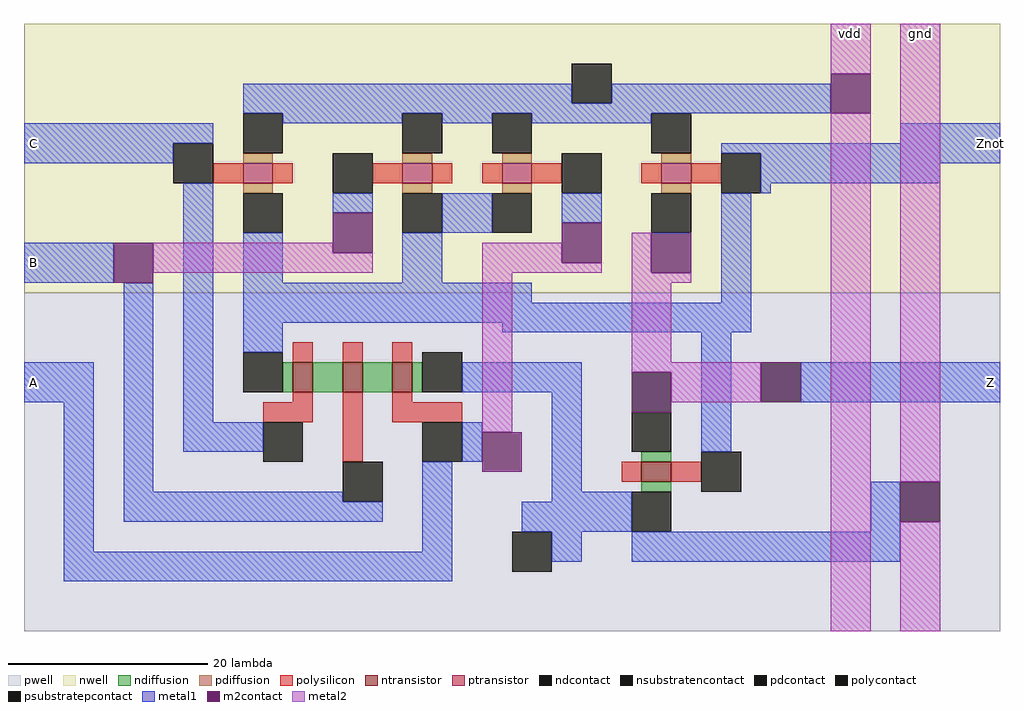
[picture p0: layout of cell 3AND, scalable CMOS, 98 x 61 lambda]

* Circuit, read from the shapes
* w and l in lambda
.subckt 3AND A B C Z Znot gnd vdd
M1 n1 C Znot gnd nfet w=3 l=2
M2 n2 B n1 gnd nfet w=3 l=2
M3 gnd A n2 gnd nfet w=3 l=2
M4 Z Znot gnd gnd nfet w=3 l=2
M5 vdd C Znot vdd pfet w=3 l=2
M6 vdd B Znot vdd pfet w=3 l=2
M7 vdd A Znot vdd pfet w=3 l=2
M8 vdd Znot Z vdd pfet w=3 l=2
.ends

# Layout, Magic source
magic
tech scmos
<< nwell >>
rect -65 7 33 34
<< pwell >>
rect -65 -27 33 7
<< ntransistor >>
rect -38 -3 -36 0
rect -33 -3 -31 0
rect -28 -3 -26 0
rect -3 -12 0 -10
<< ptransistor >>
rect -43 18 -40 20
rect -27 18 -24 20
rect -17 18 -14 20
rect -1 18 2 20
<< ndiffusion >>
rect -39 -3 -38 0
rect -36 -3 -33 0
rect -31 -3 -28 0
rect -26 -3 -25 0
rect -4 -5 0 -1
rect 9 -4 13 0
rect -3 -10 0 -9
rect -3 -13 0 -12
rect 23 -16 27 -12
<< pdiffusion >>
rect -43 20 -40 21
rect -43 17 -40 18
rect -27 20 -24 21
rect -17 20 -14 21
rect -27 17 -24 18
rect -17 17 -14 18
rect -1 20 2 21
rect -1 17 2 18
<< ndcontact >>
rect -43 -3 -39 1
rect -25 -3 -21 1
rect -4 -9 0 -5
rect -4 -17 0 -13
<< pdcontact >>
rect -43 21 -39 25
rect -27 21 -23 25
rect -18 21 -14 25
rect -2 21 2 25
rect -43 13 -39 17
rect -27 13 -23 17
rect -18 13 -14 17
rect -2 13 2 17
<< psubstratepcontact >>
rect -16 -21 -12 -17
<< nsubstratencontact >>
rect -10 26 -6 30
<< polysilicon >>
rect -46 18 -43 20
rect -40 18 -38 20
rect -30 18 -27 20
rect -24 18 -22 20
rect -19 18 -17 20
rect -14 18 -11 20
rect -3 18 -1 20
rect 2 18 5 20
rect -38 0 -36 2
rect -33 0 -31 2
rect -28 0 -26 2
rect -38 -4 -36 -3
rect -41 -6 -36 -4
rect -33 -10 -31 -3
rect -28 -4 -26 -3
rect -28 -6 -21 -4
rect -5 -12 -3 -10
rect 0 -12 3 -10
<< polycontact >>
rect -50 18 -46 22
rect -34 17 -30 21
rect -11 17 -7 21
rect 5 17 9 21
rect -41 -10 -37 -6
rect -25 -10 -21 -6
rect -33 -14 -29 -10
rect 3 -13 7 -9
<< metal1 >>
rect -43 26 -10 28
rect -6 26 16 28
rect -43 25 16 26
rect -65 22 -46 24
rect -65 20 -50 22
rect -39 24 -27 25
rect -23 24 -18 25
rect -14 24 -2 25
rect 23 22 33 24
rect 5 21 33 22
rect -65 8 -56 12
rect -65 -4 -58 0
rect -61 -19 -58 -4
rect -55 -13 -52 8
rect -49 -6 -46 18
rect 9 20 33 21
rect 9 18 27 20
rect 9 17 10 18
rect -43 8 -39 13
rect -34 15 -30 17
rect -23 13 -18 17
rect -11 14 -7 17
rect -27 8 -23 13
rect -43 6 -14 8
rect 5 6 8 17
rect -43 4 8 6
rect -43 1 -39 4
rect -17 3 8 4
rect -21 -3 -9 0
rect -49 -9 -41 -6
rect -21 -10 -19 -6
rect -55 -14 -33 -13
rect -55 -16 -29 -14
rect -25 -19 -22 -10
rect -12 -13 -9 -3
rect 3 -9 6 3
rect 13 -4 33 0
rect -12 -14 -4 -13
rect -15 -17 -4 -14
rect 20 -17 23 -12
rect -61 -22 -22 -19
rect -12 -20 -9 -17
rect -4 -20 23 -17
<< m2contact >>
rect 16 25 20 29
rect -56 8 -52 12
rect -34 11 -30 15
rect -11 10 -7 14
rect -2 9 2 13
rect -19 -11 -15 -7
rect -4 -5 0 -1
rect 9 -4 13 0
rect 23 -16 27 -12
<< metal2 >>
rect 16 29 20 34
rect -52 11 -34 12
rect -52 9 -30 11
rect -19 10 -11 12
rect -19 9 -7 10
rect -4 9 -2 13
rect -19 -7 -16 9
rect -4 8 2 9
rect -4 0 0 8
rect -4 -1 9 0
rect 0 -4 9 -1
rect 16 -27 20 25
rect 23 -12 27 34
rect 23 -27 27 -16
<< labels >>
rlabel metal1 31 -4 33 0 7 Z
rlabel metal1 31 20 33 24 7 Znot
rlabel metal1 -65 -4 -63 0 3 A
rlabel metal1 -65 8 -63 12 3 B
rlabel metal1 -65 20 -63 24 3 C
rlabel metal2 23 32 27 34 5 gnd
rlabel metal2 16 32 20 34 5 vdd
<< end >>
